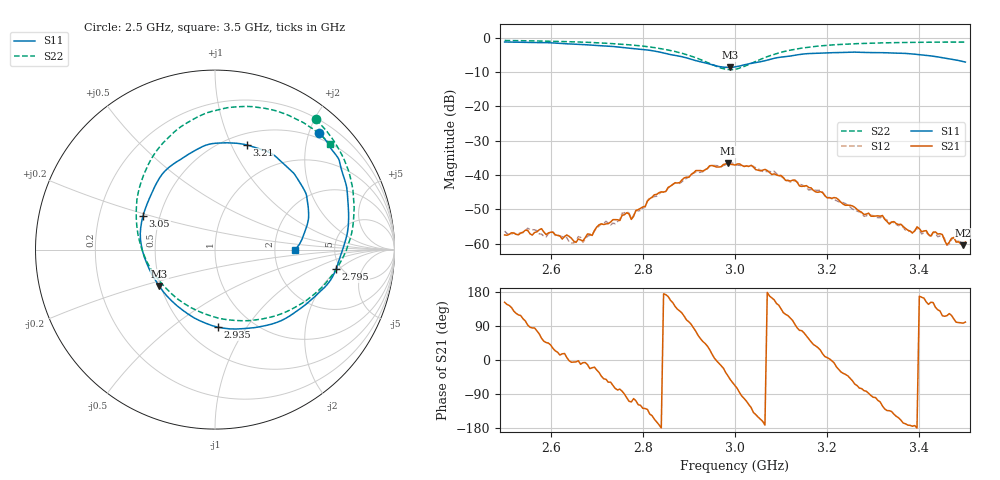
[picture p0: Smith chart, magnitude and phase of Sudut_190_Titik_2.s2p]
# Hz S RI R 50
! CMT, C1220, 16058040, 17.2.0/1
! Date: 15/08/2018 10:50:39
! Data: Format (Calibration Info)
! Freq  S11: Re/Im (F2)  S21: Re/Im (F2)  S12: Re/Im (F2)  S22: Re/Im (F2)
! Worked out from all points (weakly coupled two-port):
!   201 points, 2.5 GHz to 3.5 GHz, reference 50 ohm
!   highest |S21| = -36.64 dB at 2.985 GHz (marker M1); lowest = -60.4 dB at 3.495 GHz (marker M2)
!   lowest |S11| = -8.6 dB at 2.99 GHz (marker M3), VSWR 2.18, Z = 24.5 - j11.5 ohm
!   |S11| at or under -10 dB: nowhere
!   |S22| runs from -9.2 to -0.7 dB; largest |S21 - S12| = 0.001
!   S11 on the Smith chart (normalised r, x): 2.5 GHz: 0.40, +2.17; 2.795 GHz: 4.52, -1.85; 2.935 GHz: 0.70, -0.75; 3.05 GHz: 0.40, +0.19; 3.21 GHz: 0.62, +1.15; 3.5 GHz: 2.60, -0.01
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2.5e9  0.5805 0.6506  -0.00118 0.00062  -0.00135 0.00069  0.5622 0.7259
2.58e9  0.6799 0.5195  0.000884 0.00139  0.000759 0.00114  0.6505 0.6224
2.67e9  0.7374 0.3122  0.00108 -0.000133  0.00101 -0.000239  0.7375 0.456
2.72e9  0.7442 0.1636  0.00122 -0.0015  0.00121 -0.00173  0.7684 0.3318
2.74e9  0.7383 0.098  0.000581 -0.00215  0.000652 -0.00183  0.7726 0.2745
2.765e9  0.7141 0.00921  -0.000465 -0.00277  -0.000522 -0.00286  0.7736 0.1981
2.775e9  0.7024 -0.0259  -0.000793 -0.0021  -0.000873 -0.00214  0.7718 0.1627
2.795e9  0.674 -0.1091  -0.00161 -0.00284  -0.00154 -0.00261  0.7613 0.0918
2.835e9  0.5745 -0.2448  -0.00545 -0.000883  -0.00521 -0.001  0.7013 -0.0658
2.935e9  0.0169 -0.4323  0.0086 0.00823  0.00833 0.0086  0.2258 -0.3918
2.985e9  -0.2893 -0.2331  0.0109 -0.00993  0.0114 -0.00956  -0.172 -0.3002
2.99e9  -0.3111 -0.2032  0.00877 -0.0113  0.00939 -0.0117  -0.2086 -0.275
3e9  -0.3509 -0.1406  0.00528 -0.0129  0.00459 -0.0133  -0.2741 -0.2145
3.05e9  -0.4014 0.1866  -0.0102 -0.00579  -0.011 -0.00573  -0.4383 0.1681
3.1e9  -0.2589 0.4565  -0.00696 0.00696  -0.00639 0.00708  -0.3561 0.5036
3.17e9  0.0258 0.5938  0.0045 0.00392  0.00421 0.00429  -0.0921 0.7415
3.21e9  0.1765 0.5836  0.00457 -0.00015  0.00447 -0.000513  0.0539 0.7873
3.335e9  0.4657 0.3849  -0.00133 -0.00139  -0.00142 -0.00139  0.3903 0.7559
3.46e9  0.4936 0.0809  -0.000435 0.000853  -0.000437 0.000841  0.5959 0.633
3.475e9  0.4792 0.046  -0.000381 0.00116  -0.000434 0.00114  0.6136 0.6156
3.495e9  0.4519 0.00768  -0.00012 0.000947  -1.84e-05 0.000915  0.6377 0.5915
3.5e9  0.444 -0.00149  -0.000184 0.00103  -0.000107 0.00101  0.6432 0.5858
